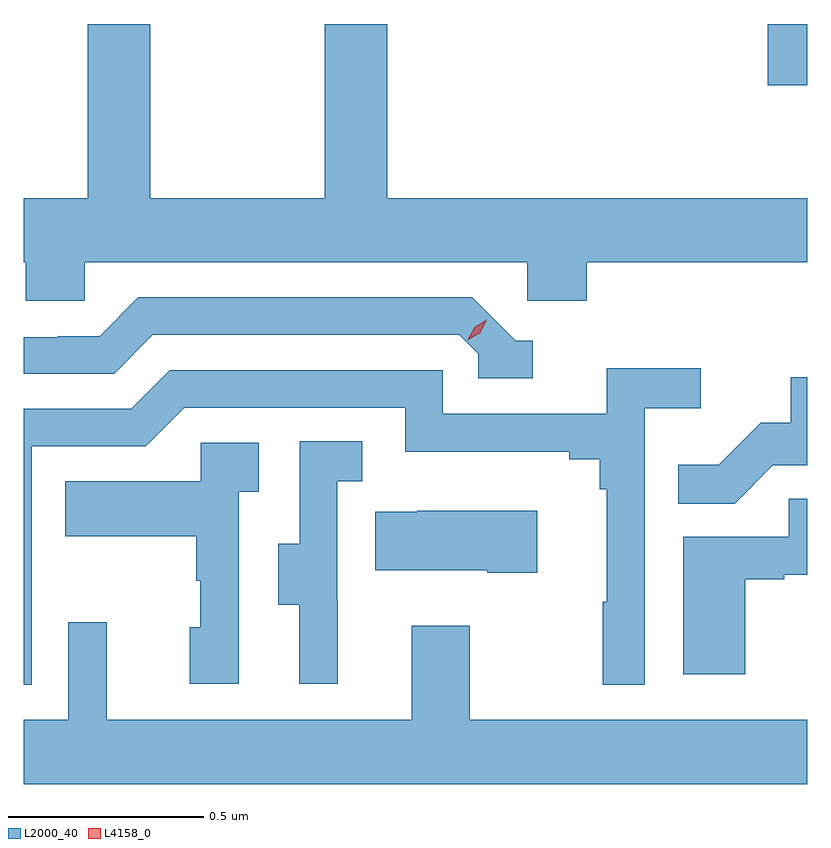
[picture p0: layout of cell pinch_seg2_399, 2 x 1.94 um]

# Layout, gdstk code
import gdstk
lib = gdstk.Library(unit=1e-6, precision=1e-09)
def R(c, l, rs):  # rectangles x0, y0, x1, y1
    for r in rs: c.add(gdstk.rectangle(r[:2], r[2:], *l))
def P(c, l, *ps):  # polygons
    for p in ps: c.add(gdstk.Polygon(p, *l))
L2000_40 = (2000, 40)
L4158_0 = (4158, 0)

pinch_seg2_399 = lib.new_cell('pinch_seg2_399')
R(pinch_seg2_399, L2000_40, [(982.741,610.792,982.842,610.949)])
P(pinch_seg2_399, L2000_40, [(980.997,610.34),(982.128,610.34),(982.128,610.242),(982.28,610.242),(982.28,610.34),(982.842,610.34),(982.842,610.504),(981.77,610.504),(981.77,610.949),(981.61,610.949),(981.61,610.504),(981.165,610.504),(981.165,610.949),(981.005,610.949),(981.005,610.504),(980.842,610.504),(980.842,610.34),(980.847,610.34),(980.847,610.242),(980.997,610.242)],
  [(982.141,610.14),(982.098,610.14),(981.987,610.251),(981.134,610.251),(981.035,610.152),(980.928,610.152),(980.928,610.149),(980.842,610.149),(980.842,610.056),(981.072,610.056),(981.171,610.155),(981.954,610.155),(982.002,610.107),(982.002,610.044),(982.141,610.044)],
  [(980.862,609.87),(981.153,609.87),(981.252,609.969),(981.816,609.969),(981.816,609.857),(982.235,609.857),(982.235,609.838),(982.312,609.838),(982.312,609.761),(982.331,609.761),(982.331,609.473),(982.32,609.473),(982.32,609.261),(982.428,609.261),(982.428,609.968),(982.57,609.968),(982.57,610.07),(982.331,610.07),(982.331,609.954),(981.912,609.954),(981.912,610.065),(981.215,610.065),(981.116,609.966),(980.842,609.966),(980.842,609.261),(980.862,609.261)],
  [(982.755,609.822),(982.842,609.822),(982.842,610.047),(982.801,610.047),(982.801,609.93),(982.724,609.93),(982.617,609.823),(982.513,609.823),(982.513,609.724),(982.657,609.724)],
  [(981.644,609.477),(981.642,609.477),(981.642,609.781),(981.706,609.781),(981.706,609.884),(981.546,609.884),(981.546,609.621),(981.491,609.621),(981.491,609.466),(981.545,609.466),(981.545,609.264),(981.644,609.264)],
  [(981.39,609.755),(981.442,609.755),(981.442,609.879),(981.294,609.879),(981.294,609.781),(980.947,609.781),(980.947,609.641),(981.282,609.641),(981.282,609.527),(981.292,609.527),(981.292,609.408),(981.266,609.408),(981.266,609.264),(981.39,609.264)],
  [(982.684,609.531),(982.784,609.531),(982.784,609.543),(982.842,609.543),(982.842,609.737),(982.795,609.737),(982.795,609.639),(982.526,609.639),(982.526,609.288),(982.684,609.288)],
  [(982.153,609.706),(981.847,609.706),(981.847,609.703),(981.739,609.703),(981.739,609.554),(982.025,609.554),(982.025,609.547),(982.153,609.547)],
  [(982.842,609.172),(981.981,609.172),(981.981,609.412),(981.833,609.412),(981.833,609.172),(981.053,609.172),(981.053,609.421),(980.955,609.421),(980.955,609.172),(980.842,609.172),(980.842,609.008),(982.842,609.008)])
P(pinch_seg2_399, L4158_0, [(981.976,610.142),(981.976,610.142),(981.993,610.175),(982.024,610.194),(982.024,610.194),(982.024,610.194),(982.008,610.161),(981.977,610.142)])

lib.write_gds('pinch_seg2_399.gds')
